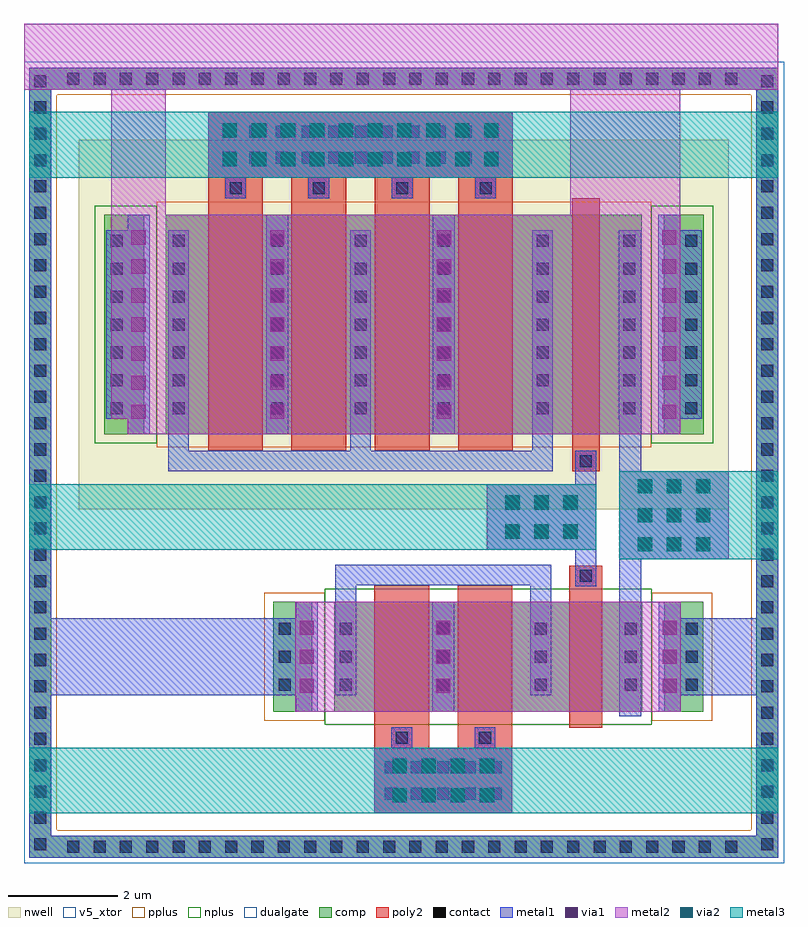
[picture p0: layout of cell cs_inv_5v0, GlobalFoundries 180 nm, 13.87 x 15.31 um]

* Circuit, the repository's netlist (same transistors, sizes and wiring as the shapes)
** sch_path: /home/noritsuna/vco/cs_inv_5v0.sch
.subckt cs_inv_5v0 A Y VBP VDD VBN VSS
*.PININFO A:I Y:O VBP:I VDD:B VBN:I VSS:B
MPC NP VBP VDD VDD pfet_05v0 L=1u W=16u nf=1
MP Y A NP VDD pfet_05v0 L=0.50u W=4u nf=1
MN Y A NN VSS nfet_05v0 L=0.60u W=2u nf=1
MNC NN VBN VSS VSS nfet_05v0 L=1u W=4u nf=1
.ends

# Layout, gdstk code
from math import pi, radians
import gdstk
lib = gdstk.Library(unit=1e-6, precision=1e-09)
def R(c, l, rs):  # rectangles x0, y0, x1, y1
    for r in rs: c.add(gdstk.rectangle(r[:2], r[2:], *l))
def A(c, l, x, y, w, h, nx, ny, dx, dy):  # array of equal rectangles
    R(c, l, [(x+i*dx, y+j*dy, x+i*dx+w, y+j*dy+h) for i in range(nx) for j in range(ny)])
nwell = (21, 0)
comp = (22, 0)
poly2 = (30, 0)
pplus = (31, 0)
nplus = (32, 0)
contact = (33, 0)
metal1 = (34, 0)
via1 = (35, 0)
metal2 = (36, 0)
via2 = (38, 0)
metal3 = (42, 0)
dualgate = (55, 0)
v5_xtor = (112, 1)

pfet_2 = lib.new_cell('pfet$2')
R(pfet_2, nwell, [(-1.24,-0.91,7.42,5.29)])
R(pfet_2, comp, [(-0.46,0,6.64,4)])
A(pfet_2, poly2, 0.31, -0.3, 1, 4.98, 4, 1, 1.52, 0)
R(pfet_2, pplus, [(-0.63,-0.24,6.81,4.24)])
A(pfet_2, contact, -0.34, 0.36, 0.22, 0.22, 1, 7, 0, 0.51)
A(pfet_2, contact, 1.46, 0.36, 0.22, 0.22, 3, 7, 1.52, 0.51)
A(pfet_2, contact, 6.3, 0.36, 0.22, 0.22, 1, 7, 0, 0.51)
A(pfet_2, contact, 0.7, 4.38, 0.22, 0.22, 4, 1, 1.52, 0)
A(pfet_2, metal1, 1.38, 0.28, 0.38, 3.44, 3, 1, 1.52, 0)
A(pfet_2, metal1, 0.62, 4.3, 0.38, 0.38, 4, 1, 1.52, 0)
R(pfet_2, metal1, [(-0.42,0.28,-0.04,3.72), (6.22,0.28,6.6,3.72)])
R(pfet_2, dualgate, [(-1.74,-1.41,7.92,5.79)])
R(pfet_2, v5_xtor, [(-1.74,-1.41,7.92,5.79)])

pfet_3 = lib.new_cell('pfet$3')
R(pfet_3, nwell, [(-1.24,-1.29,2.36,4.91)])
R(pfet_3, comp, [(-0.46,0,1.58,4)])
R(pfet_3, poly2, [(0.31,-0.68,0.81,4.3)])
R(pfet_3, pplus, [(-0.63,-0.24,1.75,4.24)])
A(pfet_3, contact, -0.34, 0.36, 0.22, 0.22, 1, 7, 0, 0.51)
A(pfet_3, contact, 1.24, 0.36, 0.22, 0.22, 1, 7, 0, 0.51)
R(pfet_3, contact, [(0.45,-0.6,0.67,-0.38)])
R(pfet_3, metal1, [(0.37,-0.68,0.75,-0.3), (-0.42,0.28,-0.04,3.72), (1.16,0.28,1.54,3.72)])
R(pfet_3, dualgate, [(-1.74,-1.79,2.86,5.41)])
R(pfet_3, v5_xtor, [(-1.74,-1.79,2.86,5.41)])

via_dev = lib.new_cell('via_dev')
R(via_dev, metal1, [(0,0,0.4,4)])
A(via_dev, via1, 0.07, 0.28, 0.26, 0.26, 1, 7, 0, 0.53)
R(via_dev, metal2, [(0,0,0.4,4)])

nfet_3 = lib.new_cell('nfet$3')
R(nfet_3, comp, [(-0.42,0,1.64,2)])
R(nfet_3, poly2, [(0.31,-0.3,0.91,2.66)])
R(nfet_3, nplus, [(-0.59,-0.24,1.81,2.24)])
A(nfet_3, contact, -0.32, 0.38, 0.22, 0.22, 1, 3, 0, 0.51)
A(nfet_3, contact, 1.32, 0.38, 0.22, 0.22, 1, 3, 0, 0.51)
R(nfet_3, contact, [(0.5,2.37,0.72,2.59)])
R(nfet_3, metal1, [(-0.4,0.3,-0.02,1.7), (1.24,0.3,1.62,1.7), (0.42,2.29,0.8,2.67)])
R(nfet_3, dualgate, [(-0.84,-0.71,2.06,3.08)])
R(nfet_3, v5_xtor, [(-0.84,-0.71,2.06,3.08)])

nfet_2 = lib.new_cell('nfet$2')
R(nfet_2, comp, [(-0.42,0,3.56,2)])
R(nfet_2, poly2, [(0.31,-0.66,1.31,2.3), (1.83,-0.66,2.83,2.3)])
R(nfet_2, nplus, [(-0.59,-0.24,3.73,2.24)])
A(nfet_2, contact, -0.32, 0.38, 0.22, 0.22, 3, 3, 1.78, 0.51)
R(nfet_2, contact, [(0.7,-0.59,0.92,-0.37), (2.22,-0.59,2.44,-0.37)])
A(nfet_2, metal1, -0.4, 0.3, 0.38, 1.4, 3, 1, 1.78, 0)
R(nfet_2, metal1, [(0.62,-0.67,1,-0.29), (2.14,-0.67,2.52,-0.29)])
R(nfet_2, dualgate, [(-0.84,-1.08,3.98,2.71)])
R(nfet_2, v5_xtor, [(-0.84,-1.08,3.98,2.71)])

via_dev_3 = lib.new_cell('via_dev$3')
R(via_dev_3, metal1, [(0,0,2,1.2)])
A(via_dev_3, via1, 0.34, 0.205, 0.26, 0.26, 3, 2, 0.53, 0.53)
R(via_dev_3, metal2, [(0,0,2,1.2)])
A(via_dev_3, via2, 0.34, 0.205, 0.26, 0.26, 3, 2, 0.53, 0.53)
R(via_dev_3, metal3, [(0,0,2,1.2)])

via_dev_1 = lib.new_cell('via_dev$1')
R(via_dev_1, poly2, [(0,0,5.56,1.2)])
A(via_dev_1, contact, 0.27, 0.25, 0.22, 0.22, 11, 2, 0.48, 0.48)
R(via_dev_1, metal1, [(0,0,5.56,1.2)])
A(via_dev_1, via1, 0.265, 0.205, 0.26, 0.26, 10, 2, 0.53, 0.53)
R(via_dev_1, metal2, [(0,0,5.56,1.2)])
A(via_dev_1, via2, 0.265, 0.205, 0.26, 0.26, 10, 2, 0.53, 0.53)
R(via_dev_1, metal3, [(0,0,5.56,1.2)])

via_dev_5 = lib.new_cell('via_dev$5')
R(via_dev_5, metal1, [(0,0,0.4,2)])
A(via_dev_5, via1, 0.07, 0.34, 0.26, 0.26, 1, 3, 0, 0.53)
R(via_dev_5, metal2, [(0,0,0.4,2)])

via_dev_6 = lib.new_cell('via_dev$6')
R(via_dev_6, poly2, [(0,0,2.52,1.2)])
A(via_dev_6, contact, 0.19, 0.25, 0.22, 0.22, 5, 2, 0.48, 0.48)
R(via_dev_6, metal1, [(0,0,2.52,1.2)])
A(via_dev_6, via1, 0.335, 0.205, 0.26, 0.26, 4, 2, 0.53, 0.53)
R(via_dev_6, metal2, [(0,0,2.52,1.2)])
A(via_dev_6, via2, 0.335, 0.205, 0.26, 0.26, 4, 2, 0.53, 0.53)
R(via_dev_6, metal3, [(0,0,2.52,1.2)])

via_dev_12 = lib.new_cell('via_dev$12')
R(via_dev_12, comp, [(0,0,0.4,14.41)])
A(via_dev_12, contact, 0.09, 0.135, 0.22, 0.22, 1, 30, 0, 0.48)
R(via_dev_12, metal1, [(0,0,0.4,14.41)])

via_dev_15 = lib.new_cell('via_dev$15')
R(via_dev_15, comp, [(0,0,12.6,0.4)])
A(via_dev_15, contact, 0.19, 0.09, 0.22, 0.22, 26, 1, 0.48, 0)
R(via_dev_15, metal1, [(0,0,12.6,0.4)])

via_dev_13 = lib.new_cell('via_dev$13')
R(via_dev_13, metal1, [(0,0,2,1.6)])
A(via_dev_13, via1, 0.34, 0.14, 0.26, 0.26, 3, 3, 0.53, 0.53)
R(via_dev_13, metal2, [(0,0,2,1.6)])
A(via_dev_13, via2, 0.34, 0.14, 0.26, 0.26, 3, 3, 0.53, 0.53)
R(via_dev_13, metal3, [(0,0,2,1.6)])

cs_inv_5v0 = lib.new_cell('cs_inv_5v0')
R(cs_inv_5v0, nwell, [(0.11,4.465,11.97,11.205)])
R(cs_inv_5v0, comp, [(-0.39,-1.89,-0.29,-1.49), (12.31,-1.89,12.47,-1.49), (3.66,0.775,4.37,2.775), (10.79,0.775,11.5,2.775), (0.57,5.835,1.3,9.835), (10.78,5.835,11.51,9.835), (-0.39,12.12,-0.29,12.52), (12.31,12.12,12.47,12.52)])
R(cs_inv_5v0, pplus, [(3.49,0.605,4.6,2.945), (10.56,0.605,11.67,2.945)])
R(cs_inv_5v0, nplus, [(0.4,5.665,1.53,10.005), (10.55,5.665,11.68,10.005)])
A(cs_inv_5v0, contact, 3.76, 1.155, 0.22, 0.22, 1, 3, 0, 0.51)
A(cs_inv_5v0, contact, 11.18, 1.155, 0.22, 0.22, 1, 3, 0, 0.51)
A(cs_inv_5v0, contact, 0.69, 6.195, 0.22, 0.22, 1, 7, 0, 0.51)
A(cs_inv_5v0, contact, 11.17, 6.195, 0.22, 0.22, 1, 7, 0, 0.51)
R(cs_inv_5v0, metal1, [(-0.39,-1.89,-0.29,-1.49), (12.31,-1.89,12.47,-1.49), (-0.605,1.075,4.46,2.475), (3.68,1.075,4.46,2.475), (10.7,1.075,11.48,2.475), (11.08,1.075,12.49,2.475), (0.61,6.115,1.39,9.555), (10.69,6.115,11.47,9.555), (-0.39,12.12,-0.29,12.52), (12.31,12.12,12.47,12.52)])
R(cs_inv_5v0, metal2, [(4.06,0.775,11.09,2.775), (1,5.835,11.08,9.835)])
R(cs_inv_5v0, metal3, [(-0.79,-1.085,12.87,0.115), (11.97,3.555,12.87,5.155), (-0.79,3.725,7.55,4.925), (-0.79,10.515,12.87,11.715)])
R(cs_inv_5v0, dualgate, [(-0.89,-1.99,12.975,12.625)])
R(cs_inv_5v0, v5_xtor, [(-0.89,-1.99,12.975,12.625)])
cs_inv_5v0.add(gdstk.FlexPath([(9.36,5.36),(9.36,3.065)], 0.38, ends="flush", simple_path=True, layer=34, datatype=0))  # metal1
cs_inv_5v0.add(gdstk.FlexPath([(10.17,9.555),(10.17,0.685)], 0.4, ends="flush", simple_path=True, layer=34, datatype=0))  # metal1
cs_inv_5v0.add(gdstk.FlexPath([(5.25,6.295),(5.25,5.345),(8.57,5.345),(8.57,6.595)], 0.38, ends="flush", simple_path=True, layer=34, datatype=0))  # metal1
cs_inv_5v0.add(gdstk.FlexPath([(5.25,6.295),(5.25,5.345),(1.93,5.345),(1.93,6.44)], 0.38, ends="flush", simple_path=True, layer=34, datatype=0))  # metal1
cs_inv_5v0.add(gdstk.FlexPath([(8.54,2.3),(8.54,3.265),(4.98,3.265),(4.98,2.18)], 0.38, ends="flush", simple_path=True, layer=34, datatype=0))  # metal1
cs_inv_5v0.add(gdstk.FlexPath([(-0.89,12.72),(12.87,12.72)], 1.2, ends="flush", simple_path=True, layer=36, datatype=0))  # metal2
cs_inv_5v0.add(gdstk.FlexPath([(1.2,6.115),(1.2,12.52)], 1, ends="flush", simple_path=True, layer=36, datatype=0))  # metal2
cs_inv_5v0.add(gdstk.FlexPath([(10.08,8.04),(10.08,12.52)], 2, ends="flush", simple_path=True, layer=36, datatype=0))  # metal2
cs_inv_5v0.add(gdstk.FlexPath([(-0.59,12.52),(-0.59,-1.69),(12.675,-1.69),(12.675,12.325),(-0.89,12.325)], 0.6, ends="flush", simple_path=True, layer=31, datatype=0))  # pplus
cs_inv_5v0.add(gdstk.Reference(pfet_2, (8.34,5.835), rotation=pi, x_reflection=True))
cs_inv_5v0.add(gdstk.Reference(pfet_3, (8.8,5.835)))
cs_inv_5v0.add(gdstk.Reference(via_dev, (3.53,5.835)))
cs_inv_5v0.add(gdstk.Reference(nfet_3, (8.75,0.775)))
cs_inv_5v0.add(gdstk.Reference(nfet_2, (8.33,0.775), rotation=pi, x_reflection=True))
cs_inv_5v0.add(gdstk.Reference(via_dev_3, (7.55,3.725)))
cs_inv_5v0.add(gdstk.Reference(via_dev, (6.57,5.835)))
cs_inv_5v0.add(gdstk.Reference(via_dev, (10.68,5.835)))
cs_inv_5v0.add(gdstk.Reference(via_dev_1, (2.47,10.515)))
cs_inv_5v0.add(gdstk.Reference(via_dev_5, (6.56,0.775)))
cs_inv_5v0.add(gdstk.Reference(via_dev_5, (10.69,0.775)))
cs_inv_5v0.add(gdstk.Reference(via_dev_6, (5.5,-1.085)))
cs_inv_5v0.add(gdstk.Reference(via_dev_12, (-0.79,-1.89)))
cs_inv_5v0.add(gdstk.Reference(via_dev_15, (-0.29,12.12)))
cs_inv_5v0.add(gdstk.Reference(via_dev_12, (12.47,-1.89)))
cs_inv_5v0.add(gdstk.Reference(via_dev_15, (-0.29,-1.89)))
cs_inv_5v0.add(gdstk.Reference(via_dev_13, (9.97,3.555)))
cs_inv_5v0.add(gdstk.Reference(via_dev, (1,5.835)))
cs_inv_5v0.add(gdstk.Reference(via_dev_5, (4.07,0.775)))

lib.write_gds('cs_inv_5v0.gds')
